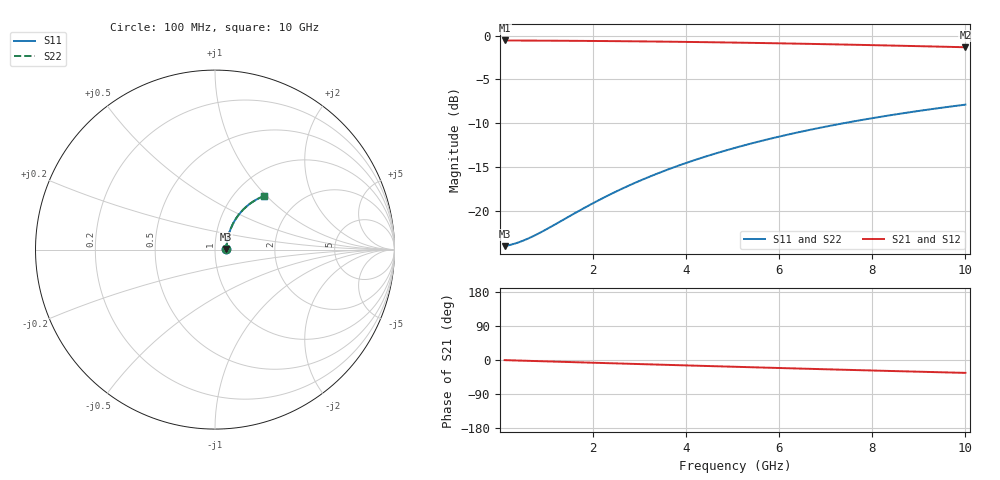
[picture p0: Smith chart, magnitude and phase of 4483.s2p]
# Hz S RI R 50.00
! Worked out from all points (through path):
!   100 points, 100 MHz to 10 GHz, reference 50 ohm
!   highest |S21| = -0.56 dB at 100 MHz (marker M1); lowest = -1.3 dB at 10 GHz (marker M2)
!   group delay of S21, straight-line fit = 9.47 ps
!   lowest |S11| = -24.0 dB at 100 MHz (marker M3), VSWR 1.13, Z = 56.7 + j0.468 ohm
!   |S11| at or under -10 dB: start of sweep to 7.392 GHz
!   |S22| runs from -24.0 to -7.9 dB; largest |S21 - S12| = 0
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1e8  0.0627 0.00411  0.9373 -0.0059  0.9373 -0.0059  0.0627 0.00411
3e8  0.0636 0.0123  0.9364 -0.0177  0.9364 -0.0177  0.0636 0.0123
4e8  0.064 0.0164  0.936 -0.0236  0.936 -0.0236  0.064 0.0164
5e8  0.0644 0.0205  0.9356 -0.0294  0.9356 -0.0294  0.0644 0.0205
7e8  0.0653 0.0286  0.9346 -0.0412  0.9346 -0.0412  0.0653 0.0286
1e9  0.067 0.0408  0.9328 -0.0587  0.9328 -0.0587  0.067 0.0408
1.8e9  0.0735 0.0727  0.926 -0.105  0.926 -0.105  0.0735 0.0727
2.2e9  0.0778 0.0884  0.9214 -0.1278  0.9214 -0.1278  0.0778 0.0884
2.6e9  0.0829 0.1037  0.916 -0.1504  0.916 -0.1504  0.0829 0.1037
3e9  0.0886 0.1187  0.9098 -0.1726  0.9098 -0.1726  0.0886 0.1187
3.4e9  0.0951 0.1334  0.903 -0.1944  0.903 -0.1944  0.0951 0.1334
3.8e9  0.1022 0.1476  0.8953 -0.2159  0.8953 -0.2159  0.1022 0.1476
4.2e9  0.11 0.1614  0.887 -0.2369  0.887 -0.2369  0.11 0.1614
4.6e9  0.1183 0.1747  0.8781 -0.2575  0.8781 -0.2575  0.1183 0.1747
5.1e9  0.1296 0.1906  0.866 -0.2824  0.866 -0.2824  0.1296 0.1906
5.5e9  0.1392 0.2028  0.8557 -0.3018  0.8557 -0.3018  0.1392 0.2028
5.9e9  0.1493 0.2144  0.8448 -0.3206  0.8448 -0.3206  0.1493 0.2144
6.7e9  0.1708 0.2358  0.8216 -0.3566  0.8216 -0.3566  0.1708 0.2358
7.5e9  0.1938 0.2547  0.7966 -0.3902  0.7966 -0.3902  0.1938 0.2547
8.4e9  0.2211 0.2731  0.7669 -0.425  0.7669 -0.425  0.2211 0.2731
9.2e9  0.2462 0.2867  0.7393 -0.4533  0.7393 -0.4533  0.2462 0.2867
1e10  0.2719 0.2978  0.7109 -0.4792  0.7109 -0.4792  0.2719 0.2978
